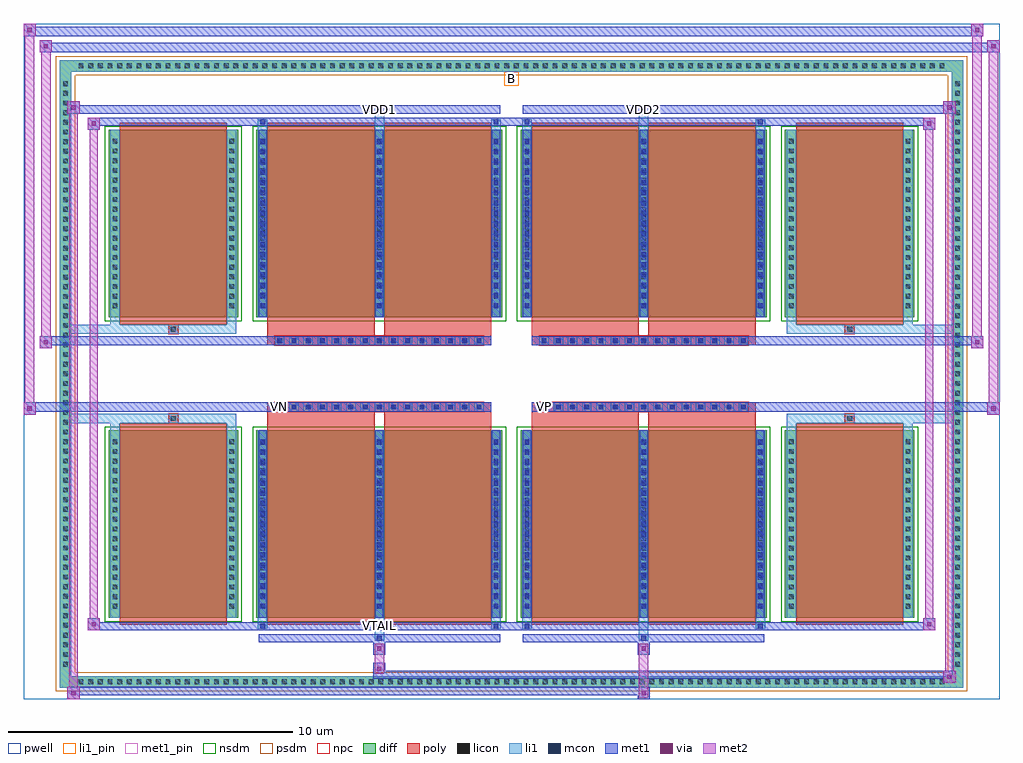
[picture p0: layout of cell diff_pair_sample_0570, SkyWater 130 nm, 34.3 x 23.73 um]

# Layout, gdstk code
import gdstk
lib = gdstk.Library(unit=1e-6, precision=5e-09)
def R(c, l, rs):  # rectangles x0, y0, x1, y1
    for r in rs: c.add(gdstk.rectangle(r[:2], r[2:], *l))
def A(c, l, x, y, w, h, nx, ny, dx, dy):  # array of equal rectangles
    R(c, l, [(x+i*dx, y+j*dy, x+i*dx+w, y+j*dy+h) for i in range(nx) for j in range(ny)])
def P(c, l, *ps):  # polygons
    for p in ps: c.add(gdstk.Polygon(p, *l))
pwell = (64, 44)
diff = (65, 20)
poly = (66, 20)
licon = (66, 44)
li1_pin = (67, 16)
li1 = (67, 20)
mcon = (67, 44)
met1_pin = (68, 16)
met1 = (68, 20)
via = (68, 44)
met2 = (69, 20)
nsdm = (93, 44)
psdm = (94, 20)
npc = (95, 20)

diff_pair_sample_0570 = lib.new_cell('diff_pair_sample_0570')
R(diff_pair_sample_0570, pwell, [(-17.15,-11.43,17.15,12.3), (-14.47,-9.62,-0.01,-0.8), (0.01,-9.62,14.47,-0.8), (-14.47,0.8,-0.01,9.62), (0.01,0.8,14.47,9.62)])
A(diff_pair_sample_0570, diff, -15.335, -11.03, 0.41, 0.41, 90, 2, 0.34, 21.65)
A(diff_pair_sample_0570, diff, -15.88, -10.405, 0.41, 0.41, 1, 61, 0, 0.34)
A(diff_pair_sample_0570, diff, 15.47, -10.405, 0.41, 0.41, 1, 61, 0, 0.34)
R(diff_pair_sample_0570, diff, [(-15.335,-11.03,15.335,-10.62), (-15.88,-10.405,-15.47,10.405), (15.47,-10.405,15.88,10.405), (-14.16,-8.575,-9.61,-1.985), (-8.97,-8.575,-0.32,-1.985), (0.32,-8.575,8.97,-1.985), (9.61,-8.575,14.16,-1.985), (-14.16,1.985,-9.61,8.575), (-8.97,1.985,-0.32,8.575), (0.32,1.985,8.97,8.575), (9.61,1.985,14.16,8.575), (-15.335,10.62,15.335,11.03)])
P(diff_pair_sample_0570, diff, [(15.88,11.03),(-15.88,11.03),(-15.88,-10.62),(-15.47,-10.62),(-15.47,10.62),(15.47,10.62),(15.47,-10.62),(-15.47,-10.62),(-15.88,-10.62),(-15.88,-11.03),(15.88,-11.03)])
A(diff_pair_sample_0570, poly, -8.31, -1.33, 0.33, 0.33, 15, 2, 0.5, 2.33)
A(diff_pair_sample_0570, poly, 0.98, -1.33, 0.33, 0.33, 15, 2, 0.5, 2.33)
R(diff_pair_sample_0570, poly, [(-13.77,-8.825,-10,-1.735), (-8.58,-8.825,-4.81,-1.735), (-4.48,-8.825,-0.71,-1.735), (0.71,-8.825,4.48,-1.735), (4.81,-8.825,8.58,-1.735), (10,-8.825,13.77,-1.735), (-12.05,-1.735,-11.72,-1.405), (-12.05,-1.735,-11.72,-1.405), (-8.58,-1.735,-4.81,-1.33), (-4.48,-1.735,-0.71,-1.33), (0.71,-1.735,4.48,-1.33), (4.81,-1.735,8.58,-1.33), (11.72,-1.735,12.05,-1.405), (11.72,-1.735,12.05,-1.405), (-8.58,-1.33,-0.71,-1), (0.71,-1.33,8.58,-1), (-8.58,1,-0.71,1.33), (0.71,1,8.58,1.33), (-8.58,1.33,-4.81,1.735), (-4.48,1.33,-0.71,1.735), (0.71,1.33,4.48,1.735), (4.81,1.33,8.58,1.735), (-12.05,1.405,-11.72,1.735), (-12.05,1.405,-11.72,1.735), (11.72,1.405,12.05,1.735), (11.72,1.405,12.05,1.735), (-13.77,1.735,-10,8.825), (-8.58,1.735,-4.81,8.825), (-4.48,1.735,-0.71,8.825), (0.71,1.735,4.48,8.825), (4.81,1.735,8.58,8.825), (10,1.735,13.77,8.825)])
A(diff_pair_sample_0570, licon, -15.215, -10.91, 0.17, 0.17, 90, 2, 0.34, 21.65)
A(diff_pair_sample_0570, licon, -15.76, -10.285, 0.17, 0.17, 1, 61, 0, 0.34)
A(diff_pair_sample_0570, licon, 15.59, -10.285, 0.17, 0.17, 1, 61, 0, 0.34)
A(diff_pair_sample_0570, licon, -14.02, -8.255, 0.17, 0.17, 1, 18, 0, 0.34)
A(diff_pair_sample_0570, licon, -9.92, -8.255, 0.17, 0.17, 1, 18, 0, 0.34)
A(diff_pair_sample_0570, licon, -8.83, -8.255, 0.17, 0.17, 3, 18, 4.1, 0.34)
A(diff_pair_sample_0570, licon, 0.46, -8.255, 0.17, 0.17, 3, 18, 4.1, 0.34)
A(diff_pair_sample_0570, licon, 9.75, -8.255, 0.17, 0.17, 1, 18, 0, 0.34)
A(diff_pair_sample_0570, licon, 13.85, -8.255, 0.17, 0.17, 1, 18, 0, 0.34)
A(diff_pair_sample_0570, licon, -8.23, -1.25, 0.17, 0.17, 15, 2, 0.5, 2.33)
A(diff_pair_sample_0570, licon, 1.06, -1.25, 0.17, 0.17, 15, 2, 0.5, 2.33)
A(diff_pair_sample_0570, licon, -14.02, 2.305, 0.17, 0.17, 1, 18, 0, 0.34)
A(diff_pair_sample_0570, licon, -9.92, 2.305, 0.17, 0.17, 1, 18, 0, 0.34)
A(diff_pair_sample_0570, licon, -8.83, 2.305, 0.17, 0.17, 3, 18, 4.1, 0.34)
A(diff_pair_sample_0570, licon, 0.46, 2.305, 0.17, 0.17, 3, 18, 4.1, 0.34)
A(diff_pair_sample_0570, licon, 9.75, 2.305, 0.17, 0.17, 1, 18, 0, 0.34)
A(diff_pair_sample_0570, licon, 13.85, 2.305, 0.17, 0.17, 1, 18, 0, 0.34)
R(diff_pair_sample_0570, licon, [(-11.97,-1.655,-11.8,-1.485), (11.8,-1.655,11.97,-1.485), (-11.97,1.485,-11.8,1.655), (11.8,1.485,11.97,1.655)])
R(diff_pair_sample_0570, li1_pin, [(-0.25,10.12,0.25,10.62)])
A(diff_pair_sample_0570, li1, -15.295, -10.99, 0.33, 0.33, 90, 2, 0.34, 21.65)
A(diff_pair_sample_0570, li1, -15.84, -10.365, 0.33, 0.33, 1, 61, 0, 0.34)
A(diff_pair_sample_0570, li1, 15.51, -10.365, 0.33, 0.33, 1, 61, 0, 0.34)
A(diff_pair_sample_0570, li1, -8.91, -8.575, 0.33, 6.59, 3, 2, 4.1, 10.56)
A(diff_pair_sample_0570, li1, 0.38, -8.575, 0.33, 6.59, 3, 2, 4.1, 10.56)
A(diff_pair_sample_0570, li1, -14.1, -8.335, 0.33, 0.33, 1, 18, 0, 0.34)
A(diff_pair_sample_0570, li1, -10, -8.335, 0.33, 0.33, 1, 18, 0, 0.34)
A(diff_pair_sample_0570, li1, -8.91, -8.335, 0.33, 0.33, 3, 18, 4.1, 0.34)
A(diff_pair_sample_0570, li1, 0.38, -8.335, 0.33, 0.33, 3, 18, 4.1, 0.34)
A(diff_pair_sample_0570, li1, 9.67, -8.335, 0.33, 0.33, 1, 18, 0, 0.34)
A(diff_pair_sample_0570, li1, 13.77, -8.335, 0.33, 0.33, 1, 18, 0, 0.34)
A(diff_pair_sample_0570, li1, -8.83, -8.245, 0.17, 0.17, 3, 17, 4.1, 0.36)
A(diff_pair_sample_0570, li1, -8.83, -8.245, 0.17, 5.93, 3, 2, 4.1, 10.56)
A(diff_pair_sample_0570, li1, 0.46, -8.245, 0.17, 0.17, 3, 17, 4.1, 0.36)
A(diff_pair_sample_0570, li1, 0.46, -8.245, 0.17, 5.93, 3, 2, 4.1, 10.56)
A(diff_pair_sample_0570, li1, -8.31, -1.33, 0.33, 0.33, 15, 2, 0.5, 2.33)
A(diff_pair_sample_0570, li1, 0.98, -1.33, 0.33, 0.33, 15, 2, 0.5, 2.33)
A(diff_pair_sample_0570, li1, -14.1, 2.225, 0.33, 0.33, 1, 18, 0, 0.34)
A(diff_pair_sample_0570, li1, -10, 2.225, 0.33, 0.33, 1, 18, 0, 0.34)
A(diff_pair_sample_0570, li1, -8.91, 2.225, 0.33, 0.33, 3, 18, 4.1, 0.34)
A(diff_pair_sample_0570, li1, 0.38, 2.225, 0.33, 0.33, 3, 18, 4.1, 0.34)
A(diff_pair_sample_0570, li1, 9.67, 2.225, 0.33, 0.33, 1, 18, 0, 0.34)
A(diff_pair_sample_0570, li1, 13.77, 2.225, 0.33, 0.33, 1, 18, 0, 0.34)
A(diff_pair_sample_0570, li1, -8.83, 2.315, 0.17, 0.17, 3, 17, 4.1, 0.36)
A(diff_pair_sample_0570, li1, 0.46, 2.315, 0.17, 0.17, 3, 17, 4.1, 0.36)
R(diff_pair_sample_0570, li1, [(-15.88,-11.03,-15.47,-10.62), (-15.88,-11.03,-15.47,-10.62), (-15.47,-11.03,15.47,-10.62), (15.47,-11.03,15.88,-10.62), (15.47,-11.03,15.88,-10.62), (-15.88,-10.62,-15.47,10.62), (15.47,-10.62,15.88,10.62), (-4.81,-9.38,-4.48,-8.575), (-4.73,-9.38,-4.56,-9.21), (4.48,-9.38,4.81,-8.575), (4.56,-9.38,4.73,-9.21), (-8.91,-8.95,-8.58,-8.575), (-8.83,-8.95,-8.66,-8.78), (-0.71,-8.95,-0.38,-8.575), (-0.63,-8.95,-0.46,-8.78), (0.38,-8.95,0.71,-8.575), (0.46,-8.95,0.63,-8.78), (8.58,-8.95,8.91,-8.575), (8.66,-8.95,8.83,-8.78), (-14.1,-8.575,-13.77,-1.985), (-10,-8.575,-9.67,-1.985), (9.67,-8.575,10,-1.985), (13.77,-8.575,14.1,-1.985), (-14.1,-1.985,-13.77,-1.405), (-10,-1.985,-9.67,-1.405), (9.67,-1.985,10,-1.405), (13.77,-1.985,14.1,-1.405), (-15.88,-1.735,-12.05,-1.405), (-14.1,-1.735,-12.05,-1.405), (-12.05,-1.735,-11.72,-1.405), (-11.72,-1.735,-9.67,-1.405), (9.67,-1.735,11.72,-1.405), (11.72,-1.735,12.05,-1.405), (11.72,-1.735,15.88,-1.405), (12.05,-1.735,14.1,-1.405), (-15.88,1.405,-12.05,1.735), (-14.1,1.405,-12.05,1.735), (-14.1,1.405,-13.77,1.985), (-12.05,1.405,-11.72,1.735), (-11.72,1.405,-9.67,1.735), (-10,1.405,-9.67,1.985), (9.67,1.405,11.72,1.735), (9.67,1.405,10,1.985), (11.72,1.405,12.05,1.735), (11.72,1.405,15.88,1.735), (12.05,1.405,14.1,1.735), (13.77,1.405,14.1,1.985), (-14.1,1.985,-13.77,8.575), (-10,1.985,-9.67,8.575), (9.67,1.985,10,8.575), (13.77,1.985,14.1,8.575), (-8.91,8.575,-8.58,8.95), (-4.81,8.575,-4.48,9.38), (-0.71,8.575,-0.38,8.95), (0.38,8.575,0.71,8.95), (4.48,8.575,4.81,9.38), (8.58,8.575,8.91,8.95), (-8.83,8.78,-8.66,8.95), (-0.63,8.78,-0.46,8.95), (0.46,8.78,0.63,8.95), (8.66,8.78,8.83,8.95), (-4.73,9.21,-4.56,9.38), (4.56,9.21,4.73,9.38), (-15.88,10.62,-15.47,11.03), (-15.88,10.62,-15.47,11.03), (-15.47,10.62,15.47,11.03), (15.47,10.62,15.88,11.03), (15.47,10.62,15.88,11.03)])
A(diff_pair_sample_0570, mcon, -8.83, -8.245, 0.17, 0.17, 3, 17, 4.1, 0.36)
A(diff_pair_sample_0570, mcon, 0.46, -8.245, 0.17, 0.17, 3, 17, 4.1, 0.36)
A(diff_pair_sample_0570, mcon, -8.23, -1.25, 0.17, 0.17, 15, 2, 0.5, 2.33)
A(diff_pair_sample_0570, mcon, 1.06, -1.25, 0.17, 0.17, 15, 2, 0.5, 2.33)
A(diff_pair_sample_0570, mcon, -8.83, 2.315, 0.17, 0.17, 3, 17, 4.1, 0.36)
A(diff_pair_sample_0570, mcon, 0.46, 2.315, 0.17, 0.17, 3, 17, 4.1, 0.36)
R(diff_pair_sample_0570, mcon, [(-4.73,-9.38,-4.56,-9.21), (4.56,-9.38,4.73,-9.21), (-8.83,-8.95,-8.66,-8.78), (-0.63,-8.95,-0.46,-8.78), (0.46,-8.95,0.63,-8.78), (8.66,-8.95,8.83,-8.78), (-8.83,8.78,-8.66,8.95), (-0.63,8.78,-0.46,8.95), (0.46,8.78,0.63,8.95), (8.66,8.78,8.83,8.95), (-4.73,9.21,-4.56,9.38), (4.56,9.21,4.73,9.38)])
R(diff_pair_sample_0570, met1_pin, [(-4.78,-8.99,-4.51,-8.72), (-8.28,-1.29,-8.01,-1.02), (1.01,-1.29,1.28,-1.02), (-4.78,9.17,-4.51,9.44), (4.51,9.17,4.78,9.44)])
A(diff_pair_sample_0570, met1, -8.89, -8.575, 0.29, 6.59, 3, 2, 4.1, 10.56)
A(diff_pair_sample_0570, met1, 0.4, -8.575, 0.29, 6.59, 3, 2, 4.1, 10.56)
A(diff_pair_sample_0570, met1, -8.89, -8.305, 0.29, 0.29, 3, 17, 4.1, 0.36)
A(diff_pair_sample_0570, met1, 0.4, -8.305, 0.29, 0.29, 3, 17, 4.1, 0.36)
A(diff_pair_sample_0570, met1, -8.29, -1.31, 0.29, 0.29, 15, 2, 0.5, 2.33)
A(diff_pair_sample_0570, met1, 1, -1.31, 0.29, 0.29, 15, 2, 0.5, 2.33)
A(diff_pair_sample_0570, met1, -8.89, 2.255, 0.29, 0.29, 3, 17, 4.1, 0.36)
A(diff_pair_sample_0570, met1, 0.4, 2.255, 0.29, 0.29, 3, 17, 4.1, 0.36)
R(diff_pair_sample_0570, met1, [(-15.61,-11.43,-15.18,-11), (4.43,-11.43,4.86,-11), (-15.61,-11.29,4.86,-11), (15.18,-10.86,15.61,-10.43), (-4.86,-10.72,15.61,-10.43), (-4.86,-10.58,-4.43,-10.15), (-4.86,-9.87,-4.43,-9.44), (4.43,-9.87,4.86,-9.44), (-8.89,-9.44,-0.4,-9.15), (-4.79,-9.44,-4.5,-9.15), (0.4,-9.44,8.89,-9.15), (4.5,-9.44,4.79,-9.15), (-14.9,-9.01,-14.47,-8.58), (-14.9,-9.01,-8.89,-8.72), (-8.89,-9.01,-8.6,-8.72), (-8.89,-9.01,-0.4,-8.72), (-0.69,-9.01,-0.4,-8.72), (-0.4,-9.01,0.4,-8.72), (0.4,-9.01,0.69,-8.72), (0.4,-9.01,8.89,-8.72), (8.6,-9.01,8.89,-8.72), (8.89,-9.01,14.9,-8.72), (14.47,-9.01,14.9,-8.58), (-17.15,-1.43,-16.72,-1), (16.72,-1.43,17.15,-1), (-17.15,-1.33,-0.71,-1), (-8.58,-1.33,-0.71,-1), (0.71,-1.33,8.58,-1), (0.71,-1.33,17.15,-1), (-16.58,0.9,-16.15,1.33), (16.15,0.9,16.58,1.33), (-16.58,1,-8.58,1.33), (-8.58,1,-0.71,1.33), (0.71,1,8.58,1.33), (8.58,1,16.58,1.33), (-14.9,8.58,-14.47,9.01), (14.47,8.58,14.9,9.01), (-14.9,8.72,-8.89,9.01), (-8.89,8.72,-8.6,9.01), (-8.89,8.72,-0.4,9.01), (-0.69,8.72,-0.4,9.01), (-0.4,8.72,0.4,9.01), (0.4,8.72,0.69,9.01), (0.4,8.72,8.89,9.01), (8.6,8.72,8.89,9.01), (8.89,8.72,14.9,9.01), (-15.61,9.15,-15.18,9.58), (-15.61,9.15,-8.89,9.44), (-8.89,9.15,-0.4,9.44), (-4.79,9.15,-4.5,9.44), (0.4,9.15,8.89,9.44), (4.5,9.15,4.79,9.44), (8.89,9.15,15.61,9.44), (15.18,9.15,15.61,9.58), (-16.58,11.3,-16.15,11.73), (-16.58,11.3,-14.47,11.63), (-14.47,11.3,14.47,11.63), (14.47,11.3,17.15,11.63), (16.72,11.3,17.15,11.73), (-17.15,11.87,-16.72,12.3), (-17.15,11.87,-14.47,12.2), (-14.47,11.87,14.47,12.2), (14.47,11.87,16.58,12.2), (16.15,11.87,16.58,12.3)])
R(diff_pair_sample_0570, via, [(-15.47,-11.29,-15.32,-11.14), (4.57,-11.29,4.72,-11.14), (15.32,-10.72,15.47,-10.57), (-4.72,-10.44,-4.57,-10.29), (-4.72,-9.73,-4.57,-9.58), (4.57,-9.73,4.72,-9.58), (-14.76,-8.87,-14.61,-8.72), (14.61,-8.87,14.76,-8.72), (-17.01,-1.29,-16.86,-1.14), (16.86,-1.29,17.01,-1.14), (-16.44,1.04,-16.29,1.19), (16.29,1.04,16.44,1.19), (-14.76,8.72,-14.61,8.87), (14.61,8.72,14.76,8.87), (-15.47,9.29,-15.32,9.44), (15.32,9.29,15.47,9.44), (-16.44,11.44,-16.29,11.59), (16.86,11.44,17.01,11.59), (-17.01,12.01,-16.86,12.16), (16.29,12.01,16.44,12.16)])
R(diff_pair_sample_0570, met2, [(-15.61,-11.43,-15.18,-11), (-15.54,-11.43,-15.25,9.58), (-15.25,-11.43,-15.18,-11), (-15.56,-11.38,-15.23,-11.05), (4.48,-11.38,4.81,-11.05), (4.48,-11.05,4.81,-9.82), (15.18,-10.86,15.61,-10.43), (15.25,-10.86,15.54,9.58), (15.54,-10.86,15.61,-10.43), (15.23,-10.81,15.56,-10.48), (-4.81,-10.53,-4.48,-10.2), (-4.81,-10.2,-4.48,-9.82), (-4.81,-9.82,-4.48,-9.49), (4.48,-9.82,4.81,-9.49), (-14.9,-9.01,-14.47,-8.58), (-14.83,-9.01,-14.54,9.01), (-14.54,-9.01,-14.47,-8.58), (14.47,-9.01,14.9,-8.58), (14.54,-9.01,14.83,9.01), (14.83,-9.01,14.9,-8.58), (-14.85,-8.96,-14.52,-8.63), (14.52,-8.96,14.85,-8.63), (-17.15,-1.43,-16.72,-1), (-17.1,-1.43,-16.77,12.3), (-16.77,-1.43,-16.72,-1), (16.72,-1.43,17.15,-1), (16.77,-1.43,17.1,11.73), (17.1,-1.43,17.15,-1), (-17.1,-1.38,-16.77,-1.05), (16.77,-1.38,17.1,-1.05), (-16.58,0.9,-16.15,1.33), (-16.53,0.9,-16.2,11.73), (-16.2,0.9,-16.15,1.33), (16.15,0.9,16.58,1.33), (16.2,0.9,16.53,12.3), (16.53,0.9,16.58,1.33), (-16.53,0.95,-16.2,1.28), (16.2,0.95,16.53,1.28), (-14.9,8.58,-14.47,9.01), (-14.54,8.58,-14.47,9.01), (14.47,8.58,14.9,9.01), (14.83,8.58,14.9,9.01), (-14.85,8.63,-14.52,8.96), (14.52,8.63,14.85,8.96), (-15.61,9.15,-15.18,9.58), (-15.25,9.15,-15.18,9.58), (15.18,9.15,15.61,9.58), (15.54,9.15,15.61,9.58), (-15.56,9.2,-15.23,9.53), (15.23,9.2,15.56,9.53), (-16.58,11.3,-16.15,11.73), (-16.2,11.3,-16.15,11.73), (16.72,11.3,17.15,11.73), (17.1,11.3,17.15,11.73), (-16.53,11.35,-16.2,11.68), (16.77,11.35,17.1,11.68), (-17.15,11.87,-16.72,12.3), (-16.77,11.87,-16.72,12.3), (16.15,11.87,16.58,12.3), (16.53,11.87,16.58,12.3), (-17.1,11.92,-16.77,12.25), (16.2,11.92,16.53,12.25)])
R(diff_pair_sample_0570, nsdm, [(-14.29,-8.705,-9.48,-1.855), (-9.1,-8.705,-0.19,-1.855), (0.19,-8.705,9.1,-1.855), (9.48,-8.705,14.29,-1.855), (-14.29,1.855,-9.48,8.705), (-9.1,1.855,-0.19,8.705), (0.19,1.855,9.1,8.705), (9.48,1.855,14.29,8.705)])
P(diff_pair_sample_0570, psdm, [(16.01,11.16),(-16.01,11.16),(-16.01,-10.49),(-15.34,-10.49),(-15.34,10.49),(15.34,10.49),(15.34,-10.49),(-15.34,-10.49),(-16.01,-10.49),(-16.01,-11.16),(16.01,-11.16)])
A(diff_pair_sample_0570, npc, -8.33, -1.35, 0.37, 0.37, 15, 2, 0.5, 2.33)
A(diff_pair_sample_0570, npc, 0.96, -1.35, 0.37, 0.37, 15, 2, 0.5, 2.33)
R(diff_pair_sample_0570, npc, [(-12.07,-1.755,-11.7,-1.385), (11.7,-1.755,12.07,-1.385), (-8.33,-1.35,-7.46,-0.98), (-8.33,-1.35,-7.46,-0.98), (-7.83,-1.35,-6.96,-0.98), (-7.83,-1.35,-6.96,-0.98), (-7.33,-1.35,-6.46,-0.98), (-7.33,-1.35,-6.46,-0.98), (-6.83,-1.35,-5.96,-0.98), (-6.83,-1.35,-5.96,-0.98), (-6.33,-1.35,-5.46,-0.98), (-6.33,-1.35,-5.46,-0.98), (-5.83,-1.35,-4.96,-0.98), (-5.83,-1.35,-4.96,-0.98), (-5.33,-1.35,-4.46,-0.98), (-5.33,-1.35,-4.46,-0.98), (-4.83,-1.35,-3.96,-0.98), (-4.83,-1.35,-3.96,-0.98), (-4.33,-1.35,-3.46,-0.98), (-4.33,-1.35,-3.46,-0.98), (-3.83,-1.35,-2.96,-0.98), (-3.83,-1.35,-2.96,-0.98), (-3.33,-1.35,-2.46,-0.98), (-3.33,-1.35,-2.46,-0.98), (-2.83,-1.35,-1.96,-0.98), (-2.83,-1.35,-1.96,-0.98), (-2.33,-1.35,-1.46,-0.98), (-2.33,-1.35,-1.46,-0.98), (-1.83,-1.35,-0.96,-0.98), (-1.83,-1.35,-0.96,-0.98), (0.96,-1.35,1.83,-0.98), (0.96,-1.35,1.83,-0.98), (1.46,-1.35,2.33,-0.98), (1.46,-1.35,2.33,-0.98), (1.96,-1.35,2.83,-0.98), (1.96,-1.35,2.83,-0.98), (2.46,-1.35,3.33,-0.98), (2.46,-1.35,3.33,-0.98), (2.96,-1.35,3.83,-0.98), (2.96,-1.35,3.83,-0.98), (3.46,-1.35,4.33,-0.98), (3.46,-1.35,4.33,-0.98), (3.96,-1.35,4.83,-0.98), (3.96,-1.35,4.83,-0.98), (4.46,-1.35,5.33,-0.98), (4.46,-1.35,5.33,-0.98), (4.96,-1.35,5.83,-0.98), (4.96,-1.35,5.83,-0.98), (5.46,-1.35,6.33,-0.98), (5.46,-1.35,6.33,-0.98), (5.96,-1.35,6.83,-0.98), (5.96,-1.35,6.83,-0.98), (6.46,-1.35,7.33,-0.98), (6.46,-1.35,7.33,-0.98), (6.96,-1.35,7.83,-0.98), (6.96,-1.35,7.83,-0.98), (7.46,-1.35,8.33,-0.98), (7.46,-1.35,8.33,-0.98), (-8.33,0.98,-7.46,1.35), (-8.33,0.98,-7.46,1.35), (-7.83,0.98,-6.96,1.35), (-7.83,0.98,-6.96,1.35), (-7.33,0.98,-6.46,1.35), (-7.33,0.98,-6.46,1.35), (-6.83,0.98,-5.96,1.35), (-6.83,0.98,-5.96,1.35), (-6.33,0.98,-5.46,1.35), (-6.33,0.98,-5.46,1.35), (-5.83,0.98,-4.96,1.35), (-5.83,0.98,-4.96,1.35), (-5.33,0.98,-4.46,1.35), (-5.33,0.98,-4.46,1.35), (-4.83,0.98,-3.96,1.35), (-4.83,0.98,-3.96,1.35), (-4.33,0.98,-3.46,1.35), (-4.33,0.98,-3.46,1.35), (-3.83,0.98,-2.96,1.35), (-3.83,0.98,-2.96,1.35), (-3.33,0.98,-2.46,1.35), (-3.33,0.98,-2.46,1.35), (-2.83,0.98,-1.96,1.35), (-2.83,0.98,-1.96,1.35), (-2.33,0.98,-1.46,1.35), (-2.33,0.98,-1.46,1.35), (-1.83,0.98,-0.96,1.35), (-1.83,0.98,-0.96,1.35), (0.96,0.98,1.83,1.35), (0.96,0.98,1.83,1.35), (1.46,0.98,2.33,1.35), (1.46,0.98,2.33,1.35), (1.96,0.98,2.83,1.35), (1.96,0.98,2.83,1.35), (2.46,0.98,3.33,1.35), (2.46,0.98,3.33,1.35), (2.96,0.98,3.83,1.35), (2.96,0.98,3.83,1.35), (3.46,0.98,4.33,1.35), (3.46,0.98,4.33,1.35), (3.96,0.98,4.83,1.35), (3.96,0.98,4.83,1.35), (4.46,0.98,5.33,1.35), (4.46,0.98,5.33,1.35), (4.96,0.98,5.83,1.35), (4.96,0.98,5.83,1.35), (5.46,0.98,6.33,1.35), (5.46,0.98,6.33,1.35), (5.96,0.98,6.83,1.35), (5.96,0.98,6.83,1.35), (6.46,0.98,7.33,1.35), (6.46,0.98,7.33,1.35), (6.96,0.98,7.83,1.35), (6.96,0.98,7.83,1.35), (7.46,0.98,8.33,1.35), (7.46,0.98,8.33,1.35), (-12.07,1.385,-11.7,1.755), (11.7,1.385,12.07,1.755)])
diff_pair_sample_0570.add(gdstk.Label('VTAIL', (-4.645,-8.855), layer=68, texttype=5))
diff_pair_sample_0570.add(gdstk.Label('VN', (-8.145,-1.155), layer=68, texttype=5))
diff_pair_sample_0570.add(gdstk.Label('VP', (1.145,-1.155), layer=68, texttype=5))
diff_pair_sample_0570.add(gdstk.Label('B', (0,10.37), layer=67, texttype=5))
diff_pair_sample_0570.add(gdstk.Label('VDD2', (4.645,9.305), layer=68, texttype=5))
diff_pair_sample_0570.add(gdstk.Label('VDD1', (-4.645,9.305), layer=68, texttype=5))

lib.write_gds('diff_pair_sample_0570.gds')
